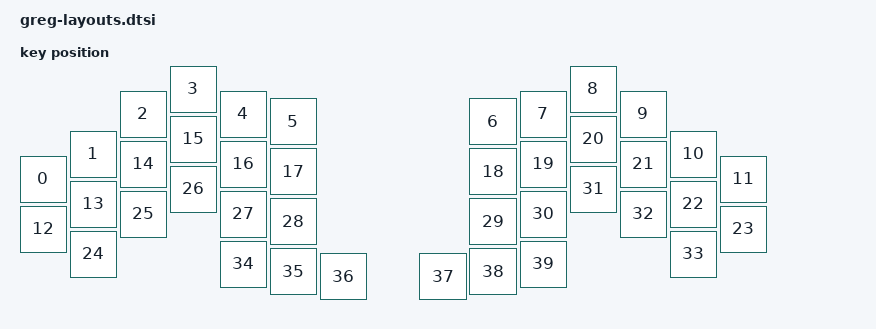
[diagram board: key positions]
#include <physical_layouts.dtsi>

/ {
    physical_layout0: physical_layout_0 {
        compatible = "zmk,physical-layout";
        display-name = "greg";

        kscan = <&kscan0>;
        transform = <&default_transform>;

        keys  //                     w   h    x    y     rot    rx    ry
            = <&key_physical_attrs 100 100    0  180       0     0     0>
            , <&key_physical_attrs 100 100  100  130       0     0     0>
            , <&key_physical_attrs 100 100  200   50       0     0     0>
            , <&key_physical_attrs 100 100  300    0       0     0     0>
            , <&key_physical_attrs 100 100  400   50       0     0     0>
            , <&key_physical_attrs 100 100  500   65       0     0     0>
            , <&key_physical_attrs 100 100  900   65       0     0     0>
            , <&key_physical_attrs 100 100 1000   50       0     0     0>
            , <&key_physical_attrs 100 100 1100    0       0     0     0>
            , <&key_physical_attrs 100 100 1200   50       0     0     0>
            , <&key_physical_attrs 100 100 1300  130       0     0     0>
            , <&key_physical_attrs 100 100 1400  180       0     0     0>
            , <&key_physical_attrs 100 100    0  280       0     0     0>
            , <&key_physical_attrs 100 100  100  230       0     0     0>
            , <&key_physical_attrs 100 100  200  150       0     0     0>
            , <&key_physical_attrs 100 100  300  100       0     0     0>
            , <&key_physical_attrs 100 100  400  150       0     0     0>
            , <&key_physical_attrs 100 100  500  165       0     0     0>
            , <&key_physical_attrs 100 100  900  165       0     0     0>
            , <&key_physical_attrs 100 100 1000  150       0     0     0>
            , <&key_physical_attrs 100 100 1100  100       0     0     0>
            , <&key_physical_attrs 100 100 1200  150       0     0     0>
            , <&key_physical_attrs 100 100 1300  230       0     0     0>
            , <&key_physical_attrs 100 100 1400  280       0     0     0>
            , <&key_physical_attrs 100 100  100  330       0     0     0>
            , <&key_physical_attrs 100 100  200  250       0     0     0>
            , <&key_physical_attrs 100 100  300  200       0     0     0>
            , <&key_physical_attrs 100 100  400  250       0     0     0>
            , <&key_physical_attrs 100 100  500  265       0     0     0>
            , <&key_physical_attrs 100 100  900  265       0     0     0>
            , <&key_physical_attrs 100 100 1000  250       0     0     0>
            , <&key_physical_attrs 100 100 1100  200       0     0     0>
            , <&key_physical_attrs 100 100 1200  250       0     0     0>
            , <&key_physical_attrs 100 100 1300  330       0     0     0>
            , <&key_physical_attrs 100 100  400  350       0     0     0>
            , <&key_physical_attrs 100 100  500  365       0     0     0>
            , <&key_physical_attrs 100 100  600  375       0     0     0>
            , <&key_physical_attrs 100 100  800  375       0     0     0>
            , <&key_physical_attrs 100 100  900  365       0     0     0>
            , <&key_physical_attrs 100 100 1000  350       0     0     0>
            ;
    };

    position_map {
        compatible = "zmk,physical-layout-position-map";

        complete;

        physical_layout0 {
            physical-layout = <&physical_layout0>;
            positions
                = < 0  1  2  3  4  5  6  7  8  9 10 11>
                , <12 13 14 15 16 17 18 19 20 21 22 23>
                   , <24 25 26 27 28 29 30 31 32 33>
                         , <34 35 36 37 38 39>
                ;
        };
    };
};

